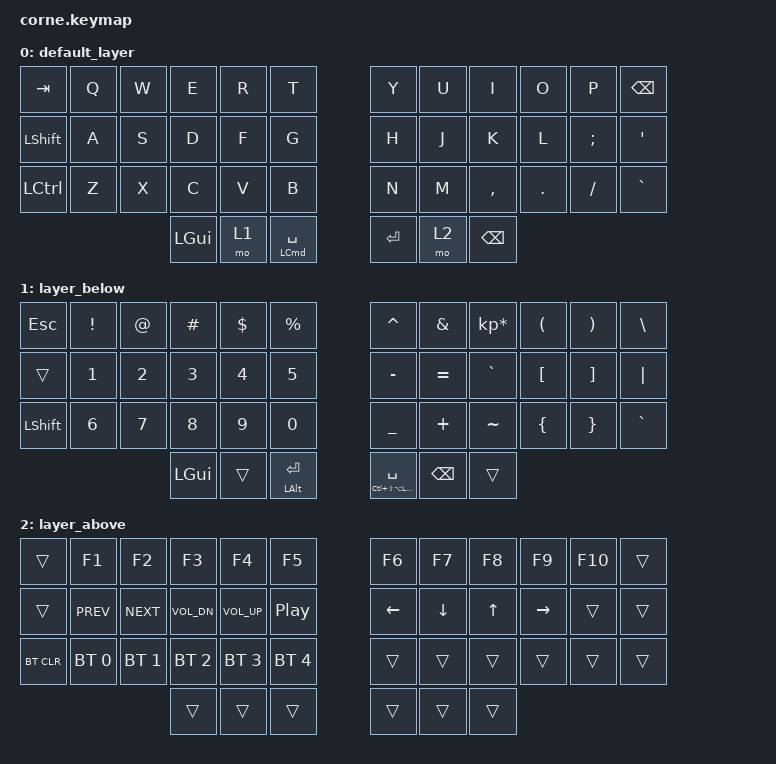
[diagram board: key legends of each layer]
/*
 * Copyright (c) 2020 The ZMK Contributors
 *
 * SPDX-License-Identifier: MIT
 */

#include <behaviors.dtsi>
#include <dt-bindings/zmk/bt.h>
#include <dt-bindings/zmk/keys.h>

/ {
    behaviors {
        tp: tap_preferred {
            compatible = "zmk,behavior-hold-tap";
            label = "TAP_PREFERRED";
            #binding-cells = <2>;
            tapping-term-ms = <250>;
            quick-tap-ms = <0>;
            flavor = "tap-preferred";
            bindings = <&kp>, <&kp>;
        };
    };

    keymap {
        compatible = "zmk,keymap";

        default_layer {
            // -----------------------------------------------------------------------------------------
            // | TAB  |  Q  |  W  |  E  |  R  |    T    |   |  Y  |  U   |  I  |  O  |  P  | ESC |
            // | CTRL |  A  |  S  |  D  |  F  |    G    |   |  H  |  J   |  K  |  L  |  ;  |  '   |
            // | SHFT |  Z  |  X  |  C  |  V  |    B    |   |  N  |  M   |  ,  |  .  |  /  | GRAVE |
            //                    | GUI | LWR | ALT/ENT |   | HYPER/SPC | BKSP  | RSE |

            bindings = <
&kp TAB           &kp Q  &kp W  &kp E     &kp R  &kp T             &kp Y                       &kp U  &kp I          &kp O    &kp P     &kp BACKSPACE
&kp LEFT_SHIFT    &kp A  &kp S  &kp D     &kp F  &kp G             &kp H                       &kp J  &kp K          &kp L    &kp SEMI  &kp SQT
&kp LEFT_CONTROL  &kp Z  &kp X  &kp C     &kp V  &kp B             &kp N                       &kp M  &kp COMMA      &kp DOT  &kp FSLH  &kp GRAVE
                                &kp LGUI &mo 1 &tp LEFT_COMMAND SPACE   &kp ENTER  &mo 2  &kp BACKSPACE
            >;
        };

        layer_below {
            // -----------------------------------------------------------------------------------------
            // |      |  !  |  @  |  #  |  $  |    %     |   |  ^  |  &  |  *  |  (  |  )  |   \   |
            // |      |  1  |  2  |  3  |  4  |    5     |   |  -  |  =  |  `  |  [  |  ]  |  "|"  |
            // | SHFT |  6  |  7  |  8  |  9  |    0     |   |  _  |  +  |  ~  |  {  |  }  | GRAVE |
            //                     | GUI |     | ALT/ENT |   | HYPER/SPACE | BKSP |    |

            bindings = <
&kp ESCAPE  &kp EXCL  &kp AT  &kp HASH  &kp DLLR  &kp PRCNT       &kp CARET                   &kp AMPS   &kp KP_MULTIPLY  &kp LPAR  &kp RPAR  &kp BSLH
&trans      &kp N1    &kp N2  &kp N3    &kp N4    &kp N5          &kp MINUS                   &kp EQUAL  &kp GRAVE        &kp LBKT  &kp RBKT  &kp PIPE
&kp LSHFT   &kp N6    &kp N7  &kp N8    &kp N9    &kp N0          &kp UNDER                   &kp PLUS   &kp TILDE        &kp LBRC  &kp RBRC  &kp GRAVE
                              &kp LGUI  &trans    &tp LALT RET    &tp LC(LS(LA(LGUI))) SPACE  &kp BSPC   &trans
            >;
        };

        layer_above {
            // -----------------------------------------------------------------------------------------
            // |       |  F1  |  F2  |  F3  |  F4  |  F5 |            |  F6  |  F7  |  F8  |  F9  |  F10  |   |
            // |       | Prev | Next | Vol - | Vol + | Play/Pause |   |      | LFT | DWN |  UP | RGT |     |     |
            // | BTCLR | BT1 | BT2 | BT3 | BT4 | BT5 |   |            |     |     |     |     |     |     |
            //                    |     |     |    |                  |     |     |     |

            bindings = <
&trans      &kp F1        &kp F2        &kp F3        &kp F4        &kp F5          &kp F6    &kp F7    &kp F8  &kp F9     &kp F10  &trans
&trans      &kp C_PREV    &kp C_NEXT    &kp C_VOL_DN  &kp C_VOL_UP  &kp C_PP        &kp LEFT  &kp DOWN  &kp UP  &kp RIGHT  &trans   &trans
&bt BT_CLR  &bt BT_SEL 0  &bt BT_SEL 1  &bt BT_SEL 2  &bt BT_SEL 3  &bt BT_SEL 4    &trans    &trans    &trans  &trans     &trans   &trans
                                        &trans        &trans        &trans          &trans    &trans    &trans
            >;
        };
    };
};
